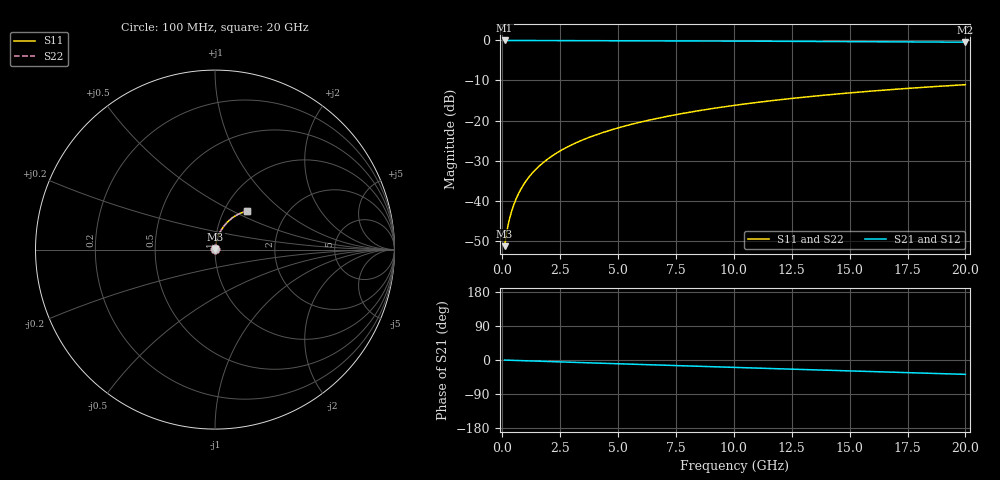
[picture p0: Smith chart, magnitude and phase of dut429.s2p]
! Touchstone file exported from HFSS 2026.1.0
!  File:  C:/ffzhzh/LocalFiles/Ansys_Project_Files/temp_train_TMRDL_429_1783005423_51716.aedt
!  Generated:  11:18:24 PM Jul  2, 2026
!  Design:  TMRDL
!  Project:  temp_train_TMRDL_429_1783005423_51716
! Variables:
!  h_bsmrdl = 2um
!  h_ox = 20um
!  h_rdl = 5um
!  h_sub = 80um
!  h_tmrdl = 5.69um
!  h_tsv = 80um
!  h_via = 3um
!  l_bsmrdl = 300um
!  l_sub = 999.19um
!  l_tmrdl = 599.19um
!  m_sub = 200um
!  pitch = 40.32um
!  r_tsv = 6um
!  s_tmrdl = 10um
!  w_bsmrdl = 18um
!  w_sub = 500um
!  w_tmrdl = 21.01um
!  x_tsv_center1 = 609.695um
!  x_tsv_center2 = 927.695um
!  x_tsv_center3 = 1547.895um
!  x_tsv_center4 = 1865.895um
!  x_tsv_center5 = 2486.095um
!  x_tsv_center6 = 2804.095um
# GHz S MA R 50.000000
! Terminal data exported
! Port[1] = TM_RDL1_1_T1
! Port[2] = TM_RDL1_1_T2
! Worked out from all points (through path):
!   200 points, 100 MHz to 20 GHz, reference 50 ohm
!   highest |S21| = -0.02 dB at 100 MHz (marker M1); lowest = -0.5 dB at 20 GHz (marker M2)
!   group delay of S21, straight-line fit = 5.25 ps
!   lowest |S11| = -51.3 dB at 100 MHz (marker M3), VSWR 1.01, Z = 50.2 + j0.189 ohm
!   |S11| at or under -10 dB: start of sweep to end of sweep
!   |S22| runs from -51.3 to -11.0 dB; largest |S21 - S12| = 3e-15
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0.1  0.002713 44.0  0.9981 -0.2  0.9981 -0.2  0.002713 44.0
! Gamma 0 0 0 0
! Port Impedance 50 0 50 0
0.2  0.004203 59.7  0.9979 -0.4  0.9979 -0.4  0.004203 59.7
0.3  0.005763 66.9  0.9978 -0.6  0.9978 -0.6  0.005763 66.9
0.4  0.007354 71.1  0.9977 -0.8  0.9977 -0.8  0.007354 71.1
0.5  0.00897 73.9  0.9976 -1.0  0.9976 -1.0  0.00897 73.9
0.6  0.0106 75.8  0.9976 -1.2  0.9976 -1.2  0.0106 75.8
0.8  0.0139 78.1  0.9974 -1.6  0.9974 -1.6  0.0139 78.1
1.1  0.01888 79.7  0.9972 -2.2  0.9972 -2.2  0.01888 79.7
1.3  0.0222 80.2  0.997 -2.6  0.997 -2.6  0.0222 80.2
1.5  0.02552 80.5  0.9968 -3.0  0.9968 -3.0  0.02552 80.5
1.8  0.03046 80.5  0.9964 -3.6  0.9964 -3.6  0.03046 80.5
2.1  0.03537 80.3  0.996 -4.2  0.996 -4.2  0.03537 80.3
2.7  0.04508 79.7  0.9951 -5.4  0.9951 -5.4  0.04508 79.7
3.5  0.05778 78.5  0.9938 -7.0  0.9938 -7.0  0.05779 78.5
4.2  0.06872 77.4  0.9926 -8.4  0.9926 -8.4  0.06872 77.4
5  0.08103 76.1  0.9911 -9.9  0.9911 -9.9  0.08103 76.1
6.8  0.1081 73.0  0.9874 -13.4  0.9874 -13.4  0.1081 73.0
8.3  0.1302 70.5  0.9841 -16.3  0.9841 -16.3  0.1302 70.5
10.1  0.1559 67.3  0.9796 -19.7  0.9796 -19.7  0.1559 67.3
13.4  0.2008 61.5  0.9704 -25.9  0.9704 -25.9  0.2008 61.5
16.7  0.2424 55.7  0.9601 -31.9  0.9601 -31.9  0.2424 55.7
20  0.2803 50.0  0.9492 -37.9  0.9492 -37.9  0.2803 50.0
